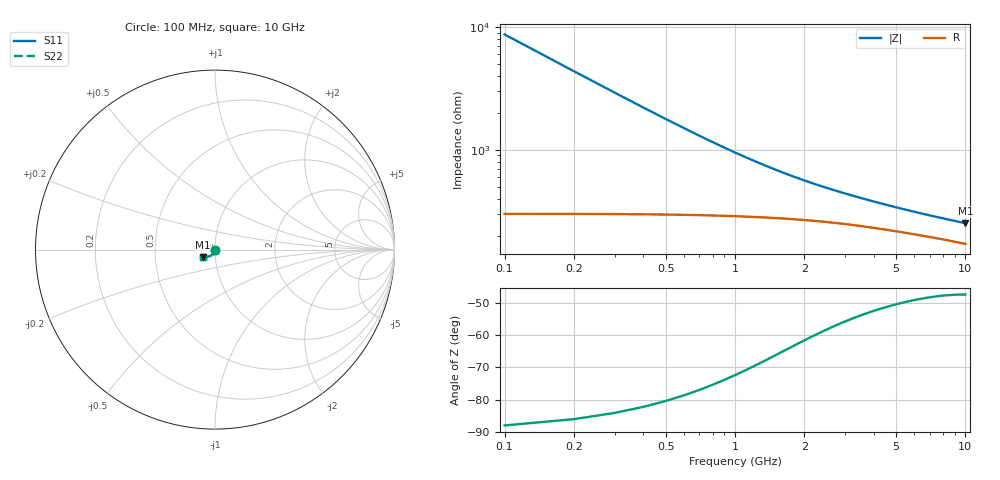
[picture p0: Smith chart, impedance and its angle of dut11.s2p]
! Touchstone file exported from HFSS 2024.1.0
!  File:  C:/UserFiles/LocalFiles/RDL_TSV_Batchsim/temp_TSV1_11_1778763810.aedt
!  Generated:  09:07:31 PM May 14, 2026
!  Design:  TSV1
!  Project:  temp_TSV1_11_1778763810
!  Setup:  Setup1
!  Solution:  Sweep
! Variables:
!  dtsv = 23.45um
!  hbump = 3um
!  htsv = 64.15um
!  lrdl = 252.1521522um
!  p = 40
!  p1 = 59.65um
!  t = 500um
!  trdl = 3um
!  wrdl = 24.89489489um
# GHz S MA R 50.000000
! Terminal data exported
! Port[1] = TSV22_T1
! Port[2] = TSV22_T2
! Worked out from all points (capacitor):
!   100 points, 100 MHz to 10 GHz, reference 50 ohm
!   read as one part in shunt: C = 182 fF near 100 MHz
!   lowest |Z| = 253 ohm at 10 GHz (marker M1)
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0.1  0.002587 -90.8  0.9998 -0.2  0.9998 -0.2  0.002587 -90.8
! Gamma 0 0 0 0
! Port Impedance 50 0 50 0
0.2  0.005159 -93.7  0.9995 -0.4  0.9995 -0.4  0.005159 -93.7
0.3  0.0077 -96.2  0.999 -0.5  0.999 -0.5  0.0077 -96.2
0.4  0.0102 -98.4  0.9983 -0.7  0.9983 -0.7  0.0102 -98.4
0.5  0.01264 -100.6  0.9974 -0.9  0.9974 -0.9  0.01264 -100.6
0.6  0.01501 -102.7  0.9964 -1.0  0.9964 -1.0  0.01501 -102.7
0.7  0.01731 -104.7  0.9953 -1.2  0.9953 -1.2  0.01731 -104.7
0.8  0.01953 -106.6  0.9941 -1.3  0.9941 -1.3  0.01953 -106.6
0.9  0.02165 -108.4  0.9929 -1.4  0.9929 -1.4  0.02165 -108.4
1.1  0.02563 -111.8  0.9902 -1.7  0.9902 -1.7  0.02563 -111.8
1.4  0.03092 -116.3  0.9861 -2.0  0.9861 -2.0  0.03092 -116.3
1.6  0.03403 -119.0  0.9834 -2.2  0.9834 -2.2  0.03403 -119.0
1.8  0.03684 -121.3  0.9809 -2.3  0.9809 -2.3  0.03684 -121.3
2.1  0.04058 -124.4  0.9772 -2.5  0.9772 -2.5  0.04058 -124.4
2.5  0.04484 -127.7  0.9728 -2.7  0.9728 -2.7  0.04484 -127.7
2.9  0.04848 -130.4  0.9688 -2.9  0.9688 -2.9  0.04848 -130.4
3.4  0.0524 -133.2  0.9645 -3.2  0.9645 -3.2  0.0524 -133.2
4.2  0.05763 -136.5  0.9587 -3.5  0.9587 -3.5  0.05763 -136.5
5.1  0.06245 -139.3  0.9532 -3.8  0.9532 -3.8  0.06245 -139.3
6.7  0.06913 -143.0  0.9456 -4.3  0.9456 -4.3  0.06913 -143.0
8.4  0.07444 -145.6  0.9396 -4.8  0.9396 -4.8  0.07444 -145.6
10  0.07834 -147.4  0.9352 -5.2  0.9352 -5.2  0.07834 -147.4
